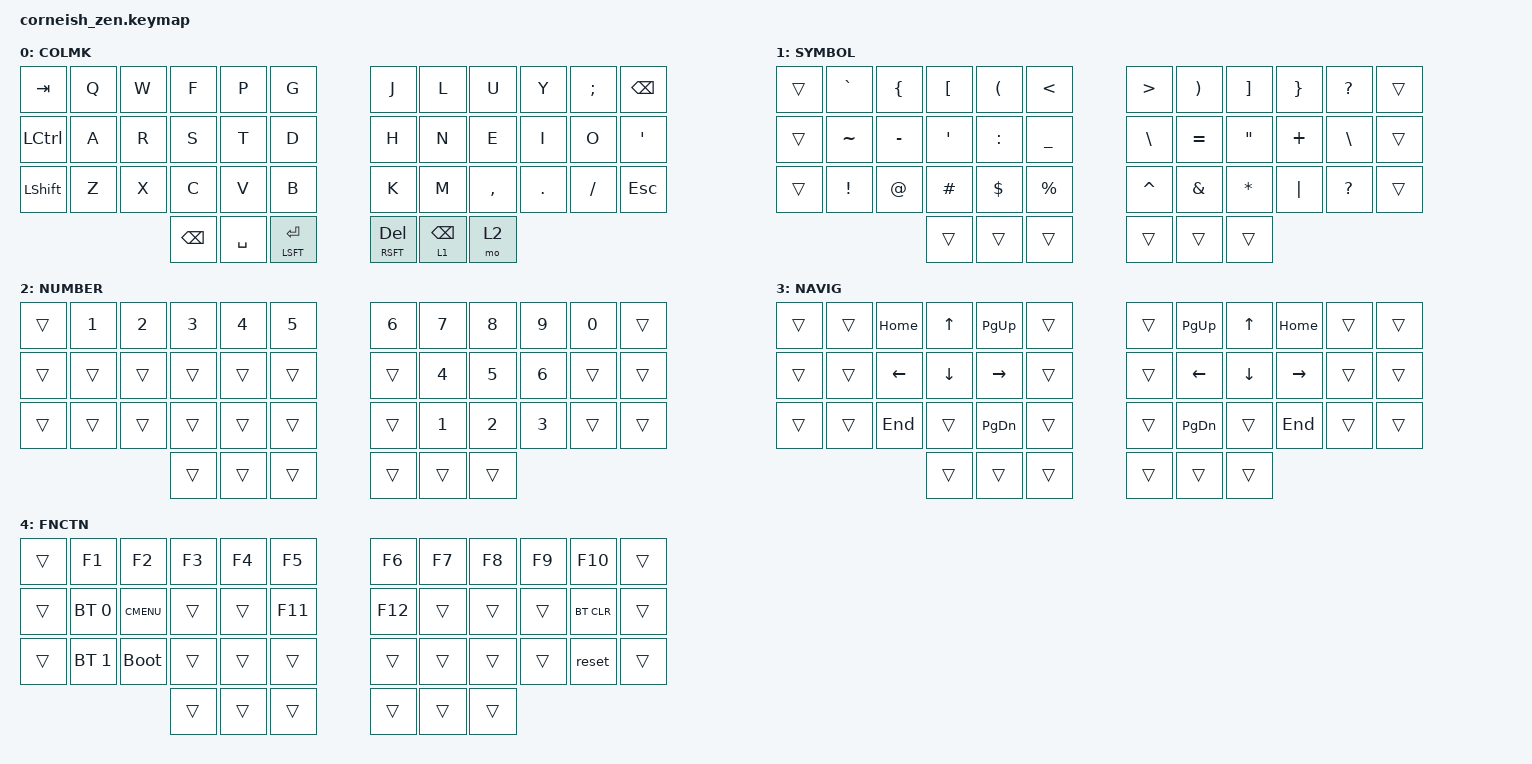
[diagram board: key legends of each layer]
/*
*
* Copyright (c) 2021 Darryl deHaan
* SPDX-License-Identifier: MIT
*
*/

#include <behaviors.dtsi>
#include <dt-bindings/zmk/keys.h>
#include <dt-bindings/zmk/bt.h>

#define PRINT_3    LG(LS(LC(N3)))
#define PRINT_4    LG(LS(LC(N4)))
#define EXP_AS     LG(LS(LA(W)))
#define EXP_WEB    LG(LS(LA(S)))
#define BRCCED     LA(C)

/ {
  chosen {
    zmk,matrix_transform = &default_transform;
    //zmk,matrix_transform = &five_column_transform;
  };
};

/ {

behaviors {
      hm: homerow_mods {
        compatible = "zmk,behavior-hold-tap";
        label = "HOMEROW_MODS";
        #binding-cells = <2>;
        tapping_term_ms = <300>;
        flavor = "tap-preferred";
        bindings = <&kp>, <&kp>;
    };
      sf: holdtap_shift {
        compatible = "zmk,behavior-hold-tap";
        label = "HOLDTAP_SHIFT";
        #binding-cells = <2>;
        tapping_term_ms = <300>;
        flavor = "hold-preferred";
        bindings = <&kp>, <&kp>;
    };
      ltt: layertap_layer {
        compatible = "zmk,behavior-hold-tap";
        label = "LAYERTAP_LAYER";
        #binding-cells = <2>;
        tapping_term_ms = <300>;
        flavor = "hold-preferred";
        bindings = <&mo>, <&kp>;
    };

    combos {
    compatible = "zmk,combos";
    combo_1 {
        timeout-ms = <50>;
        key-positions = <1 13>;
        bindings = <&kp N1>;
        layers = <0>;
    };
    combo_2 {
        timeout-ms = <50>;
        key-positions = <2 14>;
        bindings = <&kp N2>;
        layers = <0>;
    };
    combo_3 {
        timeout-ms = <50>;
        key-positions = <3 15>;
        bindings = <&kp N3>;
        layers = <0>;
    };
    combo_4 {
        timeout-ms = <50>;
        key-positions = <4 16>;
        bindings = <&kp N4>;
        layers = <0>;
    };
    combo_5 {
        timeout-ms = <50>;
        key-positions = <5 17>;
        bindings = <&kp N5>;
        layers = <0>;
    };
    combo_6 {
        timeout-ms = <50>;
        key-positions = <6 18>;
        bindings = <&kp N6>;
        layers = <0>;
    };
    combo_7 {
        timeout-ms = <50>;
        key-positions = <7 19>;
        bindings = <&kp N7>;
        layers = <0>;
    };
    combo_8 {
        timeout-ms = <50>;
        key-positions = <8 20>;
        bindings = <&kp N8>;
        layers = <0>;
    };
    combo_9 {
        timeout-ms = <50>;
        key-positions = <9 21>;
        bindings = <&kp N9>;
        layers = <0>;
    };
    combo_0 {
        timeout-ms = <50>;
        key-positions = <10 22>;
        bindings = <&kp N0>;
        layers = <0>;
    };
    combo_lalt {
        timeout-ms = <50>;
        key-positions = <26 27>;
        bindings = <&kp LALT>;
    };
    combo_lgui {
        timeout-ms = <50>;
        key-positions = <27 28>;
        bindings = <&kp LGUI>;
    };
     combo_lctrl {
        timeout-ms = <50>;
        key-positions = <28 29>;
        bindings = <&kp LCTRL>;
    };
     combo_lctrlalt {
        timeout-ms = <50>;
        key-positions = <26 27 28 29>;
        bindings = <&kp LC(LALT)>;
    };
     combo_lctrlgui {
        timeout-ms = <50>;
        key-positions = <27 28 29>;
        bindings = <&kp LC(LGUI)>;
    };
    combo_ralt {
        timeout-ms = <50>;
        key-positions = <32 33>;
        bindings = <&kp RALT>;
    };
    combo_rgui {
        timeout-ms = <50>;
        key-positions = <31 32>;
        bindings = <&kp RGUI>;
    };
     combo_rctrl {
        timeout-ms = <50>;
        key-positions = <30 31>;
        bindings = <&kp RCTRL>;
    };
     combo_rctrlalt {
        timeout-ms = <50>;
        key-positions = <30 31 32 33>;
        bindings = <&kp RC(RALT)>;
    };
     combo_rctrlgui {
        timeout-ms = <50>;
        key-positions = <30 31 32>;
        bindings = <&kp RC(RGUI)>;
    };
    combo_bspc {
        timeout-ms = <50>;
        key-positions = <10 11>;
        bindings = <&kp BKSP>;
        layers = <0 1>;
    };
    combo_tab {
        timeout-ms = <50>;
        key-positions = <4 5>;
        bindings = <&kp TAB>;
        layers = <0>;
    };
    combo_caps {
        timeout-ms = <50>;
        key-positions = <6 7>;
        bindings = <&kp CAPS>;
        layers = <0>;
    };
    combo_ins {
        timeout-ms = <50>;
        key-positions = <18 19>;
        bindings = <&kp INS>;
        layers = <0>;
    };
    combo_bkupctrl {
        timeout-ms = <50>;
        key-positions = <36 37>;
        bindings = <&kp LCTRL>;
        layers = <0>;
    };
    combo_esc {
        timeout-ms = <50>;
        key-positions = <16 17>;
        bindings = <&kp ESC>;
        layers = <0>;
    };
    combo_nav {
        timeout-ms = <50>;
        key-positions = <37 38>;
        bindings = <&mo 3>;
        layers = <0>;
    };
    combo_fncesc {
        timeout-ms = <50>;
        key-positions = <37 40>;
        bindings = <&lt 4 ESC>;
    };
    combo_ttab {
        timeout-ms = <50>;
        key-positions = <40 41>;
        bindings = <&kp TAB>;
        layers = <0>;
    };
    combo_play {
        timeout-ms = <75>;
        key-positions = <36 37 38 39 40 41>;
        bindings = <&kp C_PP>;
    };
};

};
        keymap {
                compatible = "zmk,keymap";

                default_layer {
                        label = "COLMK";
// -----------------------------------------------------------------------------------------
// |  TAB |  Q  |  W  |  F  |  P  |  G  |   |  J  |  L   |  U  |  Y  |  ;  | BKSP |
// | CTRL |  A  |  R  |  S  |  T  |  D  |   |  H  |  N   |  E  |  I  |  O  |  '   |
// | SHFT |  Z  |  X  |  C  |  V  |  B  |   |  K  |  M   |  ,  |  .  |  /  | ESC  |
//                    | GUI | LWR | SPC |   | ENT | RSE  | ALT |
                        bindings = <
   &kp TAB   &kp Q &kp W &kp F &kp P &kp G   &kp J &kp L  &kp U     &kp Y   &kp SEMI &kp BSPC
   &kp LCTRL &kp A &kp R &kp S &kp T &kp D   &kp H &kp N  &kp E     &kp I   &kp O    &kp SQT
   &kp LSHFT &kp Z &kp X &kp C &kp V &kp B   &kp K &kp M  &kp COMMA &kp DOT &kp FSLH &kp ESC
             &kp BSPC &kp SPC &sf LSFT RET   &hm RSFT DEL &ltt 1 BSPC &mo 2
                        >;
                };

                sym_layer {
                        label = "SYMBOL";
// -----------------------------------------------------------------------------------------
// ||  `  |  [  |  {  |  (  |  <  |  |  >  |  )  |  }  |  ]  |  ?  ||
// ||  ~  |  -  |  '  |  :  |  _  |  |  \  |  =  |  "  |  +  |  \  ||
// ||  !  |  @  |  #  |  $  |  %  |  |  ^  |  &  |  *  |  |  |  ?  ||
//             | BSP | SPC |  ENT |  | DEL | BSP  | NUM |
                        bindings = <
  &trans &kp GRAVE &kp LBRC  &kp LBKT &kp LPAR    &kp LT      &kp GT    &kp RPAR  &kp RBKT &kp RBRC  &kp QMARK &trans
  &trans &kp TILDE &kp MINUS &kp SQT  &kp COLON   &kp UNDER   &kp BSLH  &kp EQUAL &kp DQT  &kp PLUS  &kp BSLH &trans
  &trans &kp EXCL  &kp AT    &kp HASH &kp DOLLAR  &kp PRCNT   &kp CARET &kp AMPS  &kp STAR &kp PIPE  &kp QMARK &trans
  &trans    &trans    &trans    &trans      &trans      &trans
                        >;
                };
                 num_layer {
                        label = "NUMBER";
// -----------------------------------------------------------------------------------------
// |  1  |  2  |  3  |  4  |  5  |  6  |  7  |  8  |  9  |  0  |
// |     |     |     |     |     |     |  4  |  5  |  6  |     |
// |     |     |     |     |     |     |  1  |  2  |  3  |     |
//             | BSP | SPC |  ENT | DEL | BSP  | NUM |
                        bindings = <
   &trans &kp N1 &kp N2 &kp N3 &kp N4 &kp N5 &kp N6 &kp N7 &kp N8 &kp N9 &kp N0 &trans
   &trans &trans &trans &trans &trans &trans &trans &kp N4 &kp N5 &kp N6 &trans &trans
   &trans &trans &trans &trans &trans &trans &trans &kp N1 &kp N2 &kp N3 &trans &trans
   &trans    &trans    &trans    &trans      &trans      &trans
                        >;
                };
                   nav_layer {
                        label = "NAVIG";
// -----------------------------------------------------------------------------------------
// |     | HOME |  UP  | PGUP |     |      | PGUP |  UP  | HOME |      |
// |     | LEFT | DOWN |RIGHT |     |      | LEFT | DOWN |RIGHT |      |
// |     | END  |      | PGDN |     |      | PGDN |      | END  |      |
//             | BSP | SPC |  ENT | DEL | BSP  | NUM |
                        bindings = <
   &trans &trans &kp HOME &kp UP   &kp PG_UP &trans &trans &kp PG_UP &kp UP   &kp HOME  &trans &trans
   &trans &trans &kp LEFT &kp DOWN &kp RIGHT &trans &trans &kp LEFT  &kp DOWN &kp RIGHT &trans &trans
   &trans &trans &kp END  &trans   &kp PG_DN &trans &trans &kp PG_DN &trans   &kp END   &trans &trans
   &trans &trans   &trans    &trans     &trans   &trans
                        >;
                };
                   fnc_layer {
                        label = "FNCTN";
// -----------------------------------------------------------------------------------------
// |     |     |     |      |     |      |      |      |      |     |
// | BT0 |CMENU|     |      |     |      |      |      |      |BTCLR|
// | BT1 | BOOT|     |      |     |      |      |      |      | RST |
//             | BSP | SPC |  ENT | DEL | BSP  | NUM |
                        bindings = <
   &trans &kp F1       &kp F2      &kp F3  &kp F4 &kp F5     &kp F6  &kp F7  &kp F8  &kp F9 &kp F10 &trans
   &trans &bt BT_SEL 0 &kp K_CMENU &trans  &trans &kp F11    &kp F12 &trans  &trans  &trans &bt BT_CLR &trans
   &trans &bt BT_SEL 1 &bootloader &trans  &trans &trans     &trans  &trans  &trans  &trans &reset &trans
   &trans &trans   &trans    &trans     &trans   &trans
                        >;
                };

        };
};
